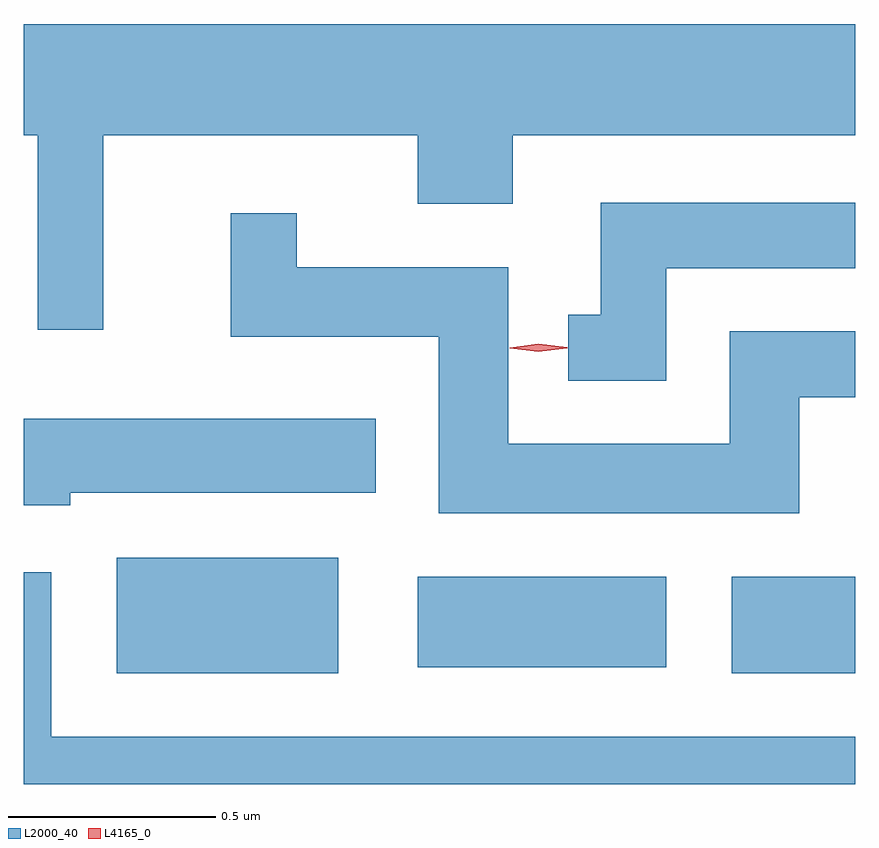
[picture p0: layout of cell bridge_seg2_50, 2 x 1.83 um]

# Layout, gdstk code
import gdstk
lib = gdstk.Library(unit=1e-6, precision=1e-09)
def R(c, l, rs):  # rectangles x0, y0, x1, y1
    for r in rs: c.add(gdstk.rectangle(r[:2], r[2:], *l))
def P(c, l, *ps):  # polygons
    for p in ps: c.add(gdstk.Polygon(p, *l))
L2000_40 = (2000, 40)
L4165_0 = (4165, 0)

bridge_seg2_50 = lib.new_cell('bridge_seg2_50')
R(bridge_seg2_50, L2000_40, [(1379.656,1055.901,1380.189,1056.179), (1381.136,1055.901,1381.433,1056.134), (1380.381,1055.916,1380.979,1056.134)])
P(bridge_seg2_50, L2000_40, [(1379.433,1057.196),(1379.466,1057.196),(1379.466,1056.728),(1379.624,1056.728),(1379.624,1057.196),(1380.381,1057.196),(1380.381,1057.031),(1380.609,1057.031),(1380.609,1057.196),(1381.433,1057.196),(1381.433,1057.464),(1379.433,1057.464)],
  [(1380.979,1056.876),(1381.433,1056.876),(1381.433,1057.034),(1380.821,1057.034),(1380.821,1056.764),(1380.743,1056.764),(1380.743,1056.606),(1380.979,1056.606)],
  [(1381.299,1056.566),(1381.433,1056.566),(1381.433,1056.724),(1381.131,1056.724),(1381.131,1056.454),(1380.599,1056.454),(1380.599,1056.879),(1380.089,1056.879),(1380.089,1057.008),(1379.931,1057.008),(1379.931,1056.711),(1380.431,1056.711),(1380.431,1056.286),(1381.299,1056.286)],
  [(1379.544,1056.336),(1380.279,1056.336),(1380.279,1056.514),(1379.433,1056.514),(1379.433,1056.306),(1379.544,1056.306)],
  [(1381.433,1055.749),(1379.499,1055.749),(1379.499,1056.144),(1379.433,1056.144),(1379.433,1055.635),(1381.433,1055.635)])
P(bridge_seg2_50, L4165_0, [(1380.671,1056.675),(1380.602,1056.684),(1380.602,1056.684),(1380.602,1056.685),(1380.671,1056.694),(1380.741,1056.686),(1380.741,1056.685),(1380.741,1056.684)])

lib.write_gds('bridge_seg2_50.gds')
